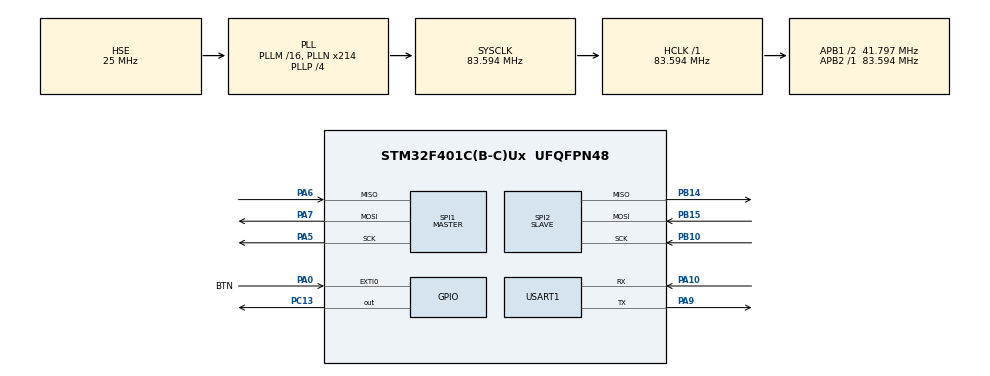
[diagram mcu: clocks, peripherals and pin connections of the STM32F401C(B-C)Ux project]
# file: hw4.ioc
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Mcu.Family=STM32F4
Mcu.Name=STM32F401C(B-C)Ux
Mcu.Package=UFQFPN48
NVIC.EXTI0_IRQn=true\:0\:0\:false\:false\:true\:true\:true\:true
NVIC.PriorityGroup=NVIC_PRIORITYGROUP_4
NVIC.SPI1_IRQn=true\:0\:0\:false\:false\:true\:true\:true\:true
NVIC.SPI2_IRQn=true\:0\:0\:false\:false\:true\:true\:true\:true
NVIC.USART1_IRQn=true\:0\:0\:false\:false\:true\:true\:true\:true
PA0-WKUP.GPIO_Label=BTN
PA0-WKUP.GPIO_ModeDefaultEXTI=GPIO_MODE_IT_FALLING
PA0-WKUP.GPIO_PuPd=GPIO_PULLUP
PA0-WKUP.Signal=GPXTI0
PA10.Mode=Asynchronous
PA10.Signal=USART1_RX
PA13.Mode=Trace_Asynchronous_SW
PA13.Signal=SYS_JTMS-SWDIO
PA14.Mode=Trace_Asynchronous_SW
PA14.Signal=SYS_JTCK-SWCLK
PA5.Mode=Full_Duplex_Master
PA5.Signal=SPI1_SCK
PA6.Mode=Full_Duplex_Master
PA6.Signal=SPI1_MISO
PA7.Mode=Full_Duplex_Master
PA7.Signal=SPI1_MOSI
PA9.Mode=Asynchronous
PA9.Signal=USART1_TX
PB10.Mode=Full_Duplex_Slave
PB10.Signal=SPI2_SCK
PB14.Mode=Full_Duplex_Slave
PB14.Signal=SPI2_MISO
PB15.Mode=Full_Duplex_Slave
PB15.Signal=SPI2_MOSI
PB3.Mode=Trace_Asynchronous_SW
PB3.Signal=SYS_JTDO-SWO
PC13-ANTI_TAMP.Signal=GPIO_Output
PC14-OSC32_IN.Mode=LSE-External-Oscillator
PC14-OSC32_IN.Signal=RCC_OSC32_IN
PC15-OSC32_OUT.Mode=LSE-External-Oscillator
PC15-OSC32_OUT.Signal=RCC_OSC32_OUT
PH0\ -\ OSC_IN.Mode=HSE-External-Oscillator
PH0\ -\ OSC_IN.Signal=RCC_OSC_IN
PH1\ -\ OSC_OUT.Mode=HSE-External-Oscillator
PH1\ -\ OSC_OUT.Signal=RCC_OSC_OUT
ProjectManager.HeapSize=0x200
ProjectManager.StackSize=0x400
ProjectManager.TargetToolchain=STM32CubeIDE
RCC.48MHZClocksFreq_Value=83593750
RCC.AHBFreq_Value=83593750
RCC.APB1CLKDivider=RCC_HCLK_DIV2
RCC.APB1Freq_Value=41796875
RCC.APB1TimFreq_Value=83593750
RCC.APB2Freq_Value=83593750
RCC.APB2TimFreq_Value=83593750
RCC.CortexFreq_Value=83593750
RCC.EnbaleCSS=true
RCC.HCLKFreq_Value=83593750
RCC.HSE_VALUE=25000000
RCC.HSI_VALUE=16000000
RCC.PLLN=214
RCC.PLLP=RCC_PLLP_DIV4
RCC.PLLSourceVirtual=RCC_PLLSOURCE_HSE
RCC.SYSCLKFreq_VALUE=83593750
RCC.SYSCLKSource=RCC_SYSCLKSOURCE_PLLCLK
RCC.VCOOutputFreq_Value=334375000
SPI1.BaudRatePrescaler=SPI_BAUDRATEPRESCALER_2
SPI1.CalculateBaudRate=41.796875 MBits/s
SPI1.Direction=SPI_DIRECTION_2LINES
SPI1.Mode=SPI_MODE_MASTER
SPI1.VirtualType=VM_MASTER
SPI2.Direction=SPI_DIRECTION_2LINES
SPI2.Mode=SPI_MODE_SLAVE
SPI2.VirtualType=VM_SLAVE
USART1.VirtualMode=VM_ASYNC
board=custom

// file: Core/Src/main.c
/* USER CODE BEGIN Header */
/**
  ******************************************************************************
  * @file           : main.c
  * @brief          : Main program body
  ******************************************************************************
  * @attention
  *
  * Copyright (c) 2026 STMicroelectronics.
  * All rights reserved.
  *
  * This software is licensed under terms that can be found in the LICENSE file
  * in the root directory of this software component.
  * If no LICENSE file comes with this software, it is provided AS-IS.
  *
  ******************************************************************************
  */
/* USER CODE END Header */
#include "main.h"

/* USER CODE BEGIN Includes */
#include "core_cm4.h"
#include <string.h>
#include "stm32f4xx_hal_uart.h"
/* USER CODE END Includes */

SPI_HandleTypeDef hspi1;
SPI_HandleTypeDef hspi2;

UART_HandleTypeDef huart1;

/* USER CODE BEGIN PV */
/* Переменные для обработки кнопки и PWM */
volatile uint8_t led_pwm_active = 0;    /* Флаг активного PWM режима: 0 - выкл, 1 - вкл */
uint8_t pwm_duty = 0;                   /* Текущий duty cycle PWM (0-100) */
uint8_t pwm_direction = 0;              /* Направление изменения PWM: 0 - рост, 1 - спад */

/* Переменные для SPI обмена */
uint8_t tx_byte = 0;           /* Байт для передачи (состояние PWM) */
volatile uint8_t rx_byte = 0;  /* Принятый байт на Master (от Slave) */
volatile uint8_t slave_rx = 0; /* Принятый байт на Slave */
uint8_t last_pwm_state = 0;    /* Для отслеживания изменения PWM */

/* Переменные для UART обработки */
#define UART_RX_BUFFER_SIZE 64
volatile uint8_t uart_rx_buffer[UART_RX_BUFFER_SIZE];  /* Кольцевой буфер приема */
volatile uint16_t uart_rx_head = 0;  /* Индекс головы буфера */
volatile uint16_t uart_rx_tail = 0;  /* Индекс хвоста буфера */
uint8_t uart_rx_byte = 0;   /* Байт для приема через прерывание */
volatile uint8_t command_ready = 0;  /* Флаг готовности команды */
char command_buffer[32];            /* Буфер для сформированной команды */
volatile uint8_t send_ok_pending = 0;  /* Флаг ожидания завершения отправки OK */

/* Переменные для обработки кнопки (длительное нажатие) */
volatile uint32_t btn_press_time = 0;    /* Время нажатия кнопки (тики HAL_GetTick) */
uint8_t btn_state = 0;                   /* Состояние кнопки: 0-ожидание, 1-нажато, 2-моргание */
uint8_t long_press_active = 0;           /* Флаг выполнения моргания */
uint8_t blink_count = 0;                 /* Счетчик морганий (0-6 для 3 циклов) */
uint32_t blink_timer = 0;                /* Таймер для морганий */
uint8_t long_press_cmd_toggle = 0;       /* Тоггл для команд: 0=следующая ON, 1=следующая OFF */
/* USER CODE END PV */

void SystemClock_Config(void);
static void MX_GPIO_Init(void);
static void MX_SPI1_Init(void);
static void MX_SPI2_Init(void);
static void MX_USART1_UART_Init(void);
/* USER CODE BEGIN PFP */
void Process_UART_Commands(void);
void UART_Send_String(const char* str);
/* USER CODE END PFP */

/* USER CODE BEGIN 0 */

/* Задержка в микросекундах для PWM */
static void Delay_us(uint32_t us)
{
  uint32_t start = DWT->CYCCNT;
  uint32_t freq = HAL_RCC_GetHCLKFreq() / 100000;  /* Частота в МГц */
  while ((DWT->CYCCNT - start) < (us * freq));
}

/* Функция программного PWM для светодиода
 * Светодиод на PC13 активный низкий (0 = горит, 1 = выкл)
 */
static void PWM_LED(uint8_t duty)
{
  /* Светодиод ГОРИТ на duty% периода (низкий уровень) */
  HAL_GPIO_WritePin(GPIOC, GPIO_PIN_13, GPIO_PIN_RESET);
  Delay_us(duty * 10);  /* 10 мкс на 1% duty cycle */

  /* Светодиод ВЫКЛЮЧЕН на (100-duty)% периода (высокий уровень) */
  HAL_GPIO_WritePin(GPIOC, GPIO_PIN_13, GPIO_PIN_SET);
  Delay_us((100 - duty) * 10);
}

/* Функция плавного изменения яркости */
static void Update_PWM(void)
{
  if (pwm_direction == 0)
  {
    pwm_duty++;
    if (pwm_duty >= 100)
    {
      pwm_duty = 100;
      pwm_direction = 1;  /* Меняем направление на спад */
    }
  }
  else
  {
    pwm_duty--;
    if (pwm_duty == 0)
    {
      pwm_duty = 0;
      pwm_direction = 0;  /* Меняем направление на рост */
    }
  }
}

/* Простая задержка для антидребезга без HAL_Delay */
static void Delay_ms_simple(uint32_t ms)
{
  for (uint32_t i = 0; i < ms * 8000; i++)  /* Примерно 1 мс при 8 MHz */
  {
    __NOP();
  }
}

/* Обработчик прерывания от кнопки (вызывается из stm32f4xx_it.c) */
void HAL_GPIO_EXTI_Callback(uint16_t GPIO_Pin)
{
  if (GPIO_Pin == BTN_Pin)  /* Кнопка на PA0 */
  {
    /* Антидребезг */
    Delay_ms_simple(20);

    /* Проверяем, что кнопка всё ещё нажата (активный низкий уровень) */
    if (HAL_GPIO_ReadPin(BTN_GPIO_Port, BTN_Pin) == GPIO_PIN_RESET)
    {
      /* Засекаем время нажатия */
      btn_press_time = HAL_GetTick();
      btn_state = 1;  /* Кнопка нажата, ждём отпускания */
    }
  }
}

/* Функция обмена данными через SPI (Master → Slave)
 * Master передаёт led_pwm_active (0 или 1)
 * Slave принимает в slave_rx через прерывание
 */
static void SPI_Exchange(void)
{
  tx_byte = led_pwm_active ? 0x01 : 0x00;
  slave_rx = 0xAA;  /* Паттерн для проверки (0b10101010) */

  /* Slave (SPI2): запускаем приём через прерывание */
  HAL_SPI_Receive_IT(&hspi2, (uint8_t*)&slave_rx, 1);

  /* Даём Slave время подготовиться */
  for (volatile int i = 0; i < 1000; i++);

  /* Master (SPI1): опускаем NSS (PA4) */
  HAL_GPIO_WritePin(GPIOA, GPIO_PIN_4, GPIO_PIN_RESET);

  /* Master передаёт данные */
  HAL_SPI_Transmit(&hspi1, &tx_byte, 1, 100);

  /* Master: поднимаем NSS */
  HAL_GPIO_WritePin(GPIOA, GPIO_PIN_4, GPIO_PIN_SET);

  /* Ждём пока прерывание обработает */
  for (volatile int i = 0; i < 100000; i++);

  rx_byte = slave_rx;  /* Копируем для отладки */
}

/* ========== UART обработка ========== */

/* Callback: прием одного байта завершен */
void HAL_UART_RxCpltCallback(UART_HandleTypeDef *huart)
{
  if (huart->Instance == USART1)
  {
    /* Сохраняем байт в кольцевой буфер */
    uint16_t next_head = (uart_rx_head + 1) % UART_RX_BUFFER_SIZE;
    if (next_head != uart_rx_tail)  /* Не перезаписываем если буфер полон */
    {
      uart_rx_buffer[uart_rx_head] = uart_rx_byte;
      uart_rx_head = next_head;
    }

    /* Запускаем прием следующего байта */
    HAL_UART_Receive_IT(&huart1, &uart_rx_byte, 1);
  }
}

/* Callback: отправка завершена */
void HAL_UART_TxCpltCallback(UART_HandleTypeDef *huart)
{
  if (huart->Instance == USART1)
  {
    send_ok_pending = 0;
  }
}

/* Функция отправки строки через UART (асинхронно) */
void UART_Send_String(const char* str)
{
  if (send_ok_pending == 0)
  {
    HAL_UART_Transmit_IT(&huart1, (uint8_t*)str, strlen(str));
    send_ok_pending = 1;
  }
}

/* Обработка принятых команд из буфера */
void Process_UART_Commands(void)
{
  static uint16_t local_tail = 0;
  uint16_t head = uart_rx_head;
  uint16_t tail = local_tail;
  uint8_t cmd_len = 0;

  /* Проверяем есть ли данные в буфере */
  if (head == tail)
    return;

  /* Ищем конец команды: '\n' или '\r' */
  while (tail != head)
  {
    char c = (char)uart_rx_buffer[tail];
    tail = (tail + 1) % UART_RX_BUFFER_SIZE;

    /* Пропускаем CR и LF в начале */
    if (c == '\r' || c == '\n')
    {
      if (cmd_len > 0)
      {
        command_buffer[cmd_len] = '\0';

        /* Проверяем команду */
        if (strcmp(command_buffer, "AT+LED_ON") == 0)
        {
          led_pwm_active = 1;
          command_ready = 1;  /* Устанавливаем флаг получения команды */
          UART_Send_String("OK\r\n");
        }
        else if (strcmp(command_buffer, "AT+LED_OFF") == 0)
        {
          led_pwm_active = 0;
          command_ready = 1;  /* Устанавливаем флаг получения команды */
          UART_Send_String("OK\r\n");
        }
        /* Можно добавить другие AT-команды */

        cmd_len = 0;
        /* Очищаем буфер до следующей команды */
        local_tail = tail;
      }
      continue;
    }

    /* Сохраняем символ в команду */
    if (cmd_len < sizeof(command_buffer) - 1)
    {
      command_buffer[cmd_len++] = c;
    }
    else
    {
      /* Буфер переполнен, сбрасываем */
      cmd_len = 0;
    }
  }

  /* Обновляем глобальный tail если обработали данные */
  if (local_tail != uart_rx_tail)
  {
    uart_rx_tail = local_tail;
  }
}

/* USER CODE END 0 */

int main(void)
{

  /* MCU Configuration--------------------------------------------------------*/

  /* Reset of all peripherals, Initializes the Flash interface and the Systick. */
  HAL_Init();

  /* Configure the system clock */
  SystemClock_Config();

  /* Initialize all configured peripherals */
  MX_GPIO_Init();
  MX_SPI1_Init();
  MX_SPI2_Init();
  MX_USART1_UART_Init();
  /* USER CODE BEGIN 2 */
  /* Инициализация DWT для задержек в микросекундах */
  CoreDebug->DEMCR |= CoreDebug_DEMCR_TRCENA_Msk;
  DWT->CYCCNT = 0;
  DWT->CTRL |= DWT_CTRL_CYCCNTENA_Msk;

  /* Инициализация переменных PWM - по умолчанию светодиод выключен */
  led_pwm_active = 0;
  pwm_duty = 0;
  pwm_direction = 0;

  /* Выключаем светодиод (инверсный выход: SET = 1 = не горит) */
  HAL_GPIO_WritePin(GPIOC, GPIO_PIN_13, GPIO_PIN_SET);

  /* Запуск асинхронного приема UART */
  HAL_UART_Receive_IT(&huart1, &uart_rx_byte, 1);
  /* USER CODE END 2 */

  /* Infinite loop */
  while (1)
  {

    /* USER CODE BEGIN 3 */
    /* Обработка UART команд */
    Process_UART_Commands();

    /* Обработка кнопки: определение типа нажатия */
    if (btn_state == 1 && HAL_GPIO_ReadPin(BTN_GPIO_Port, BTN_Pin) == GPIO_PIN_SET)
    {
      /* Кнопка отпущена */
      uint32_t press_duration = HAL_GetTick() - btn_press_time;

      if (press_duration >= 500)
      {
        /* Длительное нажатие: запускаем моргание */
        long_press_active = 1;
        blink_count = 0;
        blink_timer = HAL_GetTick();
        btn_state = 2;  /* Состояние моргания */
      }
      else
      {
        /* Короткое нажатие: переключаем LED */
        led_pwm_active = !led_pwm_active;
        btn_state = 0;  /* Возврат в ожидание */
      }
    }

    /* Конечный автомат моргания (3 цикла по 500мс вкл/выкл) */
    if (long_press_active && btn_state == 2)
    {
      uint32_t current_time = HAL_GetTick();
      uint32_t elapsed = current_time - blink_timer;

      if (elapsed >= 500)
      {
        /* Меняем состояние каждые 500мс */
        if (blink_count % 2 == 0)
        {
          /* Включить LED */
          HAL_GPIO_WritePin(GPIOC, GPIO_PIN_13, GPIO_PIN_RESET);
        }
        else
        {
          /* Выключить LED */
          HAL_GPIO_WritePin(GPIOC, GPIO_PIN_13, GPIO_PIN_SET);
        }

        blink_count++;
        blink_timer = current_time;

        /* После 6 переключений (3 полных цикла) завершаем */
        if (blink_count >= 6)
        {
          /* Отправляем команду на основе long_press_cmd_toggle (независимо от led_pwm_active) */
          if (long_press_cmd_toggle == 0)
          {
            UART_Send_String("AT+LED_ON\r\n");
            long_press_cmd_toggle = 1;  /* Следующая будет OFF */
          }
          else
          {
            UART_Send_String("AT+LED_OFF\r\n");
            long_press_cmd_toggle = 0;  /* Следующая будет ON */
          }

          long_press_active = 0;
          btn_state = 0;
        }
      }
    }

    /* Прерывание моргания при получении UART команды */
    if (long_press_active && command_ready)
    {
      long_press_active = 0;
      btn_state = 0;
      command_ready = 0;  /* Сбрасываем флаг после обработки */
      /* LED управляется через led_pwm_active в Process_UART_Commands */
    }

    /* SPI обмен только при изменении PWM состояния */
    if (led_pwm_active != last_pwm_state)
    {
      last_pwm_state = led_pwm_active;
      SPI_Exchange();
    }

    /* Управление LED в зависимости от состояния */
    if (led_pwm_active && !long_press_active)
    {
      /* PWM режим: светодиод мигает с изменяемой яркостью */
      PWM_LED(pwm_duty);
      Update_PWM();
    }
    else if (!long_press_active)
    {
      /* LED выключен (инверсный выход: SET = 1 = не горит) */
      HAL_GPIO_WritePin(GPIOC, GPIO_PIN_13, GPIO_PIN_SET);
    }
    /* При long_press_active управление LED выполняется в конечном автомате выше */
  }
  /* USER CODE END 3 */
}

void SystemClock_Config(void)
{
  RCC_OscInitTypeDef RCC_OscInitStruct = {0};
  RCC_ClkInitTypeDef RCC_ClkInitStruct = {0};

  /** Configure the main internal regulator output voltage
  */
  __HAL_RCC_PWR_CLK_ENABLE();
  __HAL_PWR_VOLTAGESCALING_CONFIG(PWR_REGULATOR_VOLTAGE_SCALE2);

  /** Initializes the RCC Oscillators according to the specified parameters
  * in the RCC_OscInitTypeDef structure.
  */
  RCC_OscInitStruct.OscillatorType = RCC_OSCILLATORTYPE_HSE;
  RCC_OscInitStruct.HSEState = RCC_HSE_ON;
  RCC_OscInitStruct.PLL.PLLState = RCC_PLL_ON;
  RCC_OscInitStruct.PLL.PLLSource = RCC_PLLSOURCE_HSE;
  RCC_OscInitStruct.PLL.PLLM = 16;
  RCC_OscInitStruct.PLL.PLLN = 214;
  RCC_OscInitStruct.PLL.PLLP = RCC_PLLP_DIV4;
  RCC_OscInitStruct.PLL.PLLQ = 4;
  if (HAL_RCC_OscConfig(&RCC_OscInitStruct) != HAL_OK)
  {
    Error_Handler();
  }

  /** Initializes the CPU, AHB and APB buses clocks
  */
  RCC_ClkInitStruct.ClockType = RCC_CLOCKTYPE_HCLK|RCC_CLOCKTYPE_SYSCLK
                              |RCC_CLOCKTYPE_PCLK1|RCC_CLOCKTYPE_PCLK2;
  RCC_ClkInitStruct.SYSCLKSource = RCC_SYSCLKSOURCE_PLLCLK;
  RCC_ClkInitStruct.AHBCLKDivider = RCC_SYSCLK_DIV1;
  RCC_ClkInitStruct.APB1CLKDivider = RCC_HCLK_DIV2;
  RCC_ClkInitStruct.APB2CLKDivider = RCC_HCLK_DIV1;

  if (HAL_RCC_ClockConfig(&RCC_ClkInitStruct, FLASH_LATENCY_2) != HAL_OK)
  {
    Error_Handler();
  }

  /** Enables the Clock Security System
  */
  HAL_RCC_EnableCSS();
}

static void MX_SPI1_Init(void)
{

  /* SPI1 parameter configuration*/
  hspi1.Instance = SPI1;
  hspi1.Init.Mode = SPI_MODE_MASTER;
  hspi1.Init.Direction = SPI_DIRECTION_2LINES;
  hspi1.Init.DataSize = SPI_DATASIZE_8BIT;
  hspi1.Init.CLKPolarity = SPI_POLARITY_LOW;
  hspi1.Init.CLKPhase = SPI_PHASE_1EDGE;
  hspi1.Init.NSS = SPI_NSS_SOFT;
  hspi1.Init.BaudRatePrescaler = SPI_BAUDRATEPRESCALER_2;
  hspi1.Init.FirstBit = SPI_FIRSTBIT_MSB;
  hspi1.Init.TIMode = SPI_TIMODE_DISABLE;
  hspi1.Init.CRCCalculation = SPI_CRCCALCULATION_DISABLE;
  hspi1.Init.CRCPolynomial = 10;
  if (HAL_SPI_Init(&hspi1) != HAL_OK)
  {
    Error_Handler();
  }

}

static void MX_SPI2_Init(void)
{

  /* SPI2 parameter configuration*/
  hspi2.Instance = SPI2;
  hspi2.Init.Mode = SPI_MODE_SLAVE;
  hspi2.Init.Direction = SPI_DIRECTION_2LINES;
  hspi2.Init.DataSize = SPI_DATASIZE_8BIT;
  hspi2.Init.CLKPolarity = SPI_POLARITY_LOW;
  hspi2.Init.CLKPhase = SPI_PHASE_1EDGE;
  hspi2.Init.NSS = SPI_NSS_SOFT;
  hspi2.Init.FirstBit = SPI_FIRSTBIT_MSB;
  hspi2.Init.TIMode = SPI_TIMODE_DISABLE;
  hspi2.Init.CRCCalculation = SPI_CRCCALCULATION_DISABLE;
  hspi2.Init.CRCPolynomial = 10;
  if (HAL_SPI_Init(&hspi2) != HAL_OK)
  {
    Error_Handler();
  }

}

static void MX_USART1_UART_Init(void)
{

  huart1.Instance = USART1;
  huart1.Init.BaudRate = 9600;
  huart1.Init.WordLength = UART_WORDLENGTH_8B;
  huart1.Init.StopBits = UART_STOPBITS_1;
  huart1.Init.Parity = UART_PARITY_NONE;
  huart1.Init.Mode = UART_MODE_TX_RX;
  huart1.Init.HwFlowCtl = UART_HWCONTROL_NONE;
  huart1.Init.OverSampling = UART_OVERSAMPLING_16;
  if (HAL_UART_Init(&huart1) != HAL_OK)
  {
    Error_Handler();
  }

}

static void MX_GPIO_Init(void)
{
  GPIO_InitTypeDef GPIO_InitStruct = {0};

  /* GPIO Ports Clock Enable */
  __HAL_RCC_GPIOC_CLK_ENABLE();
  __HAL_RCC_GPIOH_CLK_ENABLE();
  __HAL_RCC_GPIOA_CLK_ENABLE();
  __HAL_RCC_GPIOB_CLK_ENABLE();

  /*Configure GPIO pin Output Level */
  HAL_GPIO_WritePin(GPIOC, GPIO_PIN_13, GPIO_PIN_RESET);

  /*Configure GPIO pin : PC13 */
  GPIO_InitStruct.Pin = GPIO_PIN_13;
  GPIO_InitStruct.Mode = GPIO_MODE_OUTPUT_PP;
  GPIO_InitStruct.Pull = GPIO_NOPULL;
  GPIO_InitStruct.Speed = GPIO_SPEED_FREQ_LOW;
  HAL_GPIO_Init(GPIOC, &GPIO_InitStruct);

  /*Configure GPIO pin : BTN_Pin */
  GPIO_InitStruct.Pin = BTN_Pin;
  GPIO_InitStruct.Mode = GPIO_MODE_IT_FALLING;
  GPIO_InitStruct.Pull = GPIO_PULLUP;
  HAL_GPIO_Init(BTN_GPIO_Port, &GPIO_InitStruct);

  /* EXTI interrupt init*/
  HAL_NVIC_SetPriority(EXTI0_IRQn, 0, 0);
  HAL_NVIC_EnableIRQ(EXTI0_IRQn);

}

void Error_Handler(void)
{
  __disable_irq();
  while (1)
  {
  }
}
